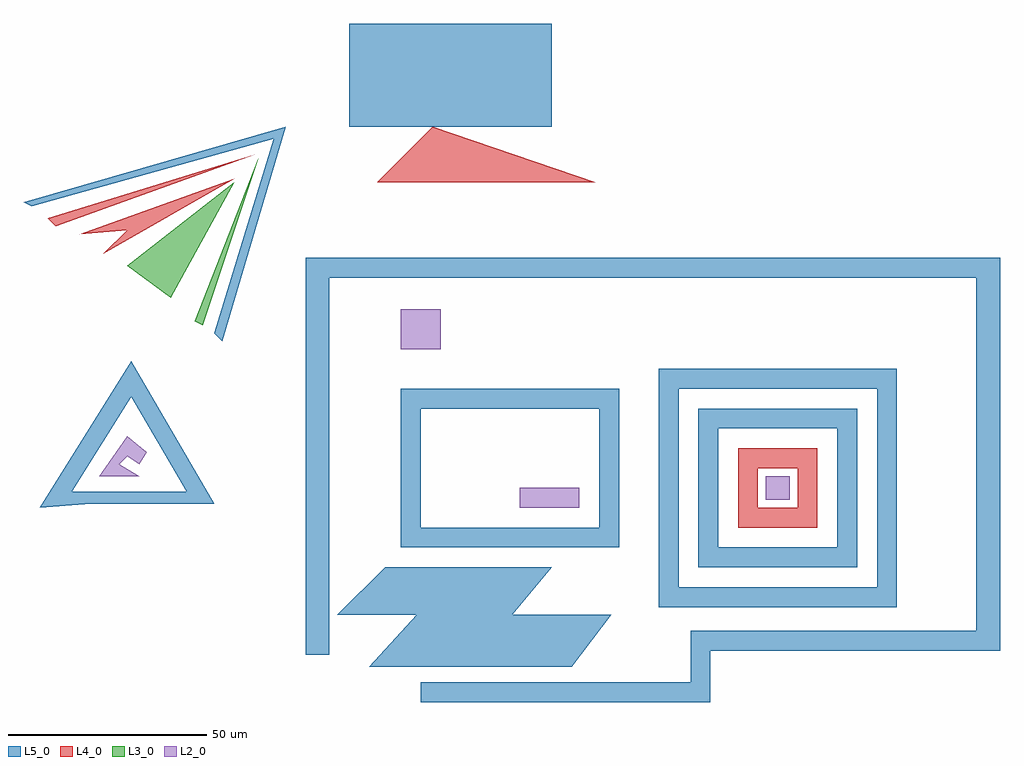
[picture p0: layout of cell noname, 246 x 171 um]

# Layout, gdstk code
import gdstk
lib = gdstk.Library(unit=1e-6, precision=1e-09)
def R(c, l, rs):  # rectangles x0, y0, x1, y1
    for r in rs: c.add(gdstk.rectangle(r[:2], r[2:], *l))
def P(c, l, *ps):  # polygons
    for p in ps: c.add(gdstk.Polygon(p, *l))
L2_0 = (2, 0)
L3_0 = (3, 0)
L4_0 = (4, 0)
L5_0 = (5, 0)

noname = lib.new_cell('noname')
R(noname, L2_0, [(-30,-10,-15,-5), (32,-8,38,-2), (-60,30,-50,40)])
P(noname, L2_0, [(-136,-2),(-126,-2),(-131,1),(-129,3),(-126,1),(-124,4),(-129,8)])
P(noname, L3_0, [(-129,51),(-118,43),(-102,72)],
  [(-112,37),(-110,36),(-96,78)])
P(noname, L4_0, [(-149,63),(-147,61),(-97,79)],
  [(-141,59),(-129,60),(-135,54),(-102,73)],
  [(-66,72),(-11,72),(-52,86)],
  [(25,-15),(45,-15),(45,5),(40,5),(40,-10),(30,-10),(30,0),(40,0),(40,5),(25,5)])
R(noname, L5_0, [(-73,86,-22,112)])
P(noname, L5_0, [(-151,-10),(-138,-9),(-107,-9),(-128,27),(-128,18),(-114,-6),(-143,-6),(-128,18),(-128,27)],
  [(-155,67),(-153,66),(-92,83),(-107,34),(-105,32),(-89,86)],
  [(-60,-20),(-5,-20),(-5,20),(-10,20),(-10,-15),(-55,-15),(-55,15),(-10,15),(-10,20),(-60,20)],
  [(-76,-37),(-56,-37),(-68,-50),(-17,-50),(-7,-37),(-32,-37),(-22,-25),(-64,-25)],
  [(5,-35),(65,-35),(65,25),(60,25),(60,-30),(10,-30),(10,20),(60,20),(60,25),(5,25)],
  [(-84,-47),(-78,-47),(-78,48),(85,48),(85,-41),(13,-41),(13,-54),(-55,-54),(-55,-59),(18,-59),(18,-46),(91,-46),(91,53),(-84,53)],
  [(15,-25),(55,-25),(55,15),(50,15),(50,-20),(20,-20),(20,10),(50,10),(50,15),(15,15)])

lib.write_gds('noname.gds')
